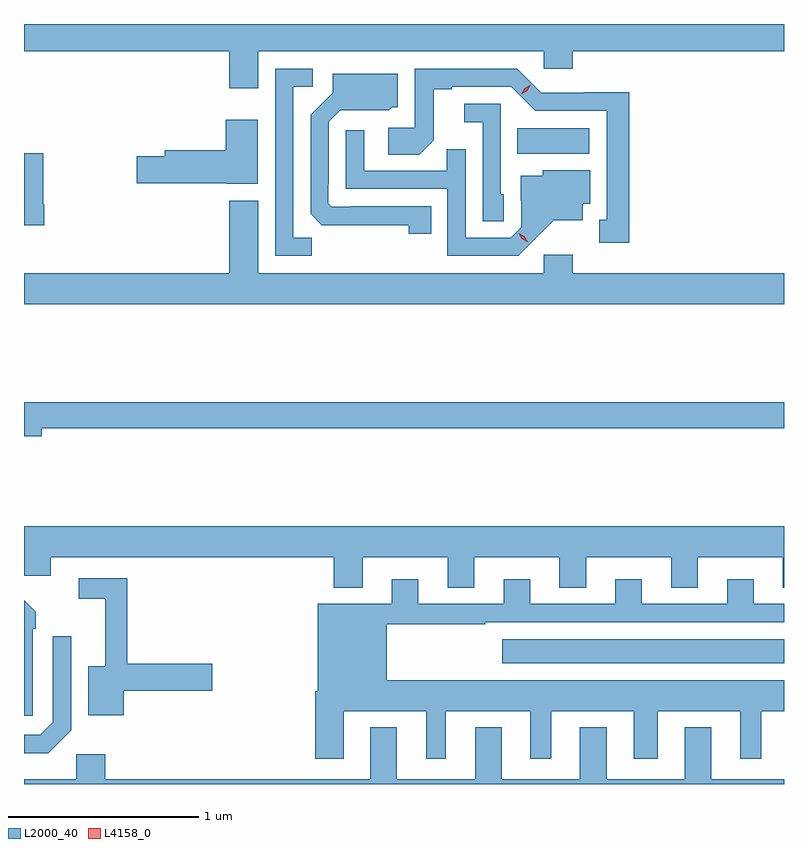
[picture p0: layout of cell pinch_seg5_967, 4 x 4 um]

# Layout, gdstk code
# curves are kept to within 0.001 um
import gdstk
lib = gdstk.Library(unit=1e-6, precision=1e-09)
def R(c, l, rs):  # rectangles x0, y0, x1, y1
    for r in rs: c.add(gdstk.rectangle(r[:2], r[2:], *l))
def P(c, l, *ps):  # polygons
    for p in ps: c.add(gdstk.Polygon(p, *l))
L2000_40 = (2000, 40)
L4158_0 = (4158, 0)

pinch_seg5_967 = lib.new_cell('pinch_seg5_967')
R(pinch_seg5_967, L2000_40, [(747.345,877.514,748.829,877.642), (747.424,880.196,747.805,880.33)])
P(pinch_seg5_967, L2000_40, [(746.062,880.736),(747.564,880.736),(747.564,880.643),(747.716,880.643),(747.716,880.736),(748.829,880.736),(748.829,880.879),(744.829,880.879),(744.829,880.736),(745.91,880.736),(745.91,880.542),(746.062,880.542)],
  [(748.015,880.52),(747.774,880.52),(747.774,880.518),(747.552,880.518),(747.426,880.644),(746.886,880.644),(746.886,880.332),(746.745,880.332),(746.745,880.192),(746.909,880.192),(746.985,880.268),(746.985,880.536),(747.079,880.536),(747.079,880.548),(747.393,880.548),(747.519,880.422),(747.896,880.422),(747.896,879.849),(747.857,879.849),(747.857,879.729),(748.015,879.729)],
  [(746.343,879.755),(746.247,879.755),(746.247,880.548),(746.35,880.548),(746.35,880.644),(746.151,880.644),(746.151,879.66),(746.343,879.66)],
  [(746.972,879.921),(746.548,879.921),(746.548,879.918),(746.448,879.918),(746.43,879.936),(746.43,880.036),(746.433,880.036),(746.433,880.365),(746.493,880.425),(746.75,880.424),(746.766,880.44),(746.797,880.44),(746.797,880.618),(746.453,880.618),(746.453,880.518),(746.337,880.402),(746.337,879.88),(746.396,879.821),(746.854,879.82),(746.854,879.774),(746.972,879.774)],
  [(747.354,879.984),(747.339,879.984),(747.339,880.458),(747.147,880.458),(747.147,880.361),(747.243,880.361),(747.243,879.841),(747.354,879.841)],
  [(746.059,880.375),(745.892,880.375),(745.892,880.214),(745.571,880.214),(745.571,880.184),(745.422,880.184),(745.422,880.042),(745.896,880.042),(745.896,880.037),(746.059,880.037)],
  [(747.514,879.743),(747.617,879.845),(747.769,879.845),(747.769,879.932),(747.808,879.932),(747.808,880.108),(747.558,880.108),(747.558,880.081),(747.443,880.081),(747.443,879.952),(747.447,879.952),(747.447,879.81),(747.39,879.753),(747.153,879.753),(747.153,880.22),(747.055,880.22),(747.055,880.107),(746.619,880.107),(746.619,880.321),(746.523,880.321),(746.523,880.011),(747.057,880.011),(747.057,879.66),(747.43,879.66)],
  [(744.935,879.931),(744.93,879.931),(744.93,880.2),(744.829,880.2),(744.829,879.819),(744.935,879.819)],
  [(748.829,879.568),(747.716,879.568),(747.716,879.664),(747.564,879.664),(747.564,879.568),(746.062,879.568),(746.062,879.949),(745.91,879.949),(745.91,879.568),(744.829,879.568),(744.829,879.404),(748.829,879.404)],
  [(744.922,878.752),(748.829,878.752),(748.829,878.888),(744.829,878.888),(744.829,878.71),(744.922,878.71)],
  [(747.199,878.072),(747.647,878.072),(747.647,877.912),(747.787,877.912),(747.787,878.072),(748.235,878.072),(748.235,877.912),(748.375,877.912),(748.375,878.072),(748.823,878.072),(748.823,877.912),(748.829,877.912),(748.829,878.236),(744.829,878.236),(744.829,878.072),(744.831,878.072),(744.831,877.974),(744.97,877.974),(744.97,878.072),(746.459,878.072),(746.459,877.913),(746.611,877.913),(746.611,878.072),(747.059,878.072),(747.059,877.912),(747.199,877.912)],
  [(745.354,877.369),(745.819,877.369),(745.819,877.511),(745.373,877.511),(745.373,877.962),(745.116,877.962),(745.116,877.854),(745.256,877.854),(745.256,877.498),(745.166,877.498),(745.166,877.241),(745.354,877.241)],
  [(746.512,877.262),(746.945,877.262),(746.945,877.011),(747.049,877.011),(747.049,877.262),(747.494,877.262),(747.494,877.011),(747.604,877.011),(747.604,877.262),(748.037,877.262),(748.037,877.011),(748.165,877.011),(748.165,877.262),(748.598,877.262),(748.598,877.011),(748.708,877.011),(748.708,877.262),(748.829,877.262),(748.829,877.426),(746.737,877.426),(746.737,877.719),(747.257,877.719),(747.257,877.731),(748.829,877.731),(748.829,877.827),(748.669,877.827),(748.669,877.957),(748.529,877.957),(748.529,877.827),(748.081,877.827),(748.081,877.957),(747.941,877.957),(747.941,877.827),(747.493,877.827),(747.493,877.957),(747.353,877.957),(747.353,877.827),(746.905,877.827),(746.905,877.957),(746.765,877.957),(746.765,877.828),(746.375,877.828),(746.375,877.366),(746.363,877.366),(746.363,877.011),(746.512,877.011)],
  [(744.876,877.697),(744.891,877.697),(744.891,877.785),(744.829,877.847),(744.829,877.239),(744.876,877.239)],
  [(745.077,877.161),(745.077,877.657),(744.981,877.657),(744.981,877.203),(744.915,877.137),(744.829,877.137),(744.829,877.04),(744.956,877.04)],
  [(748.829,876.904),(748.447,876.904),(748.447,877.177),(748.307,877.177),(748.307,876.904),(747.895,876.904),(747.895,877.177),(747.755,877.177),(747.755,876.904),(747.343,876.904),(747.343,877.177),(747.203,877.177),(747.203,876.904),(746.791,876.904),(746.791,877.177),(746.651,877.177),(746.651,876.904),(745.256,876.904),(745.256,877.036),(745.104,877.036),(745.104,876.904),(744.829,876.904),(744.829,876.879),(748.829,876.879)])
P(pinch_seg5_967, L4158_0, [(747.447,880.508),(747.447,880.508),(747.464,880.541),(747.495,880.56),(747.495,880.56),(747.495,880.56),(747.478,880.527),(747.447,880.508)],
  [(747.478,879.732),(747.448,879.748),(747.432,879.778),(747.432,879.778),(747.432,879.778),(747.462,879.762),(747.479,879.733),(747.479,879.732)])

lib.write_gds('pinch_seg5_967.gds')
